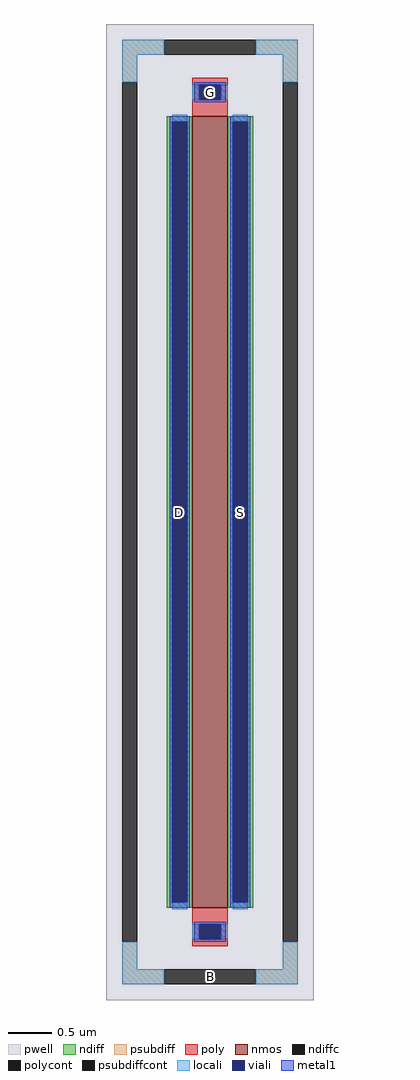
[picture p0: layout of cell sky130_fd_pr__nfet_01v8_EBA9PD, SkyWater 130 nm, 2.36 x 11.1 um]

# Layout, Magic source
magic
tech sky130A
magscale 1 2
<< pwell >>
rect -236 -1110 236 1110
<< nmos >>
rect -40 -900 40 900
<< ndiff >>
rect -98 888 -40 900
rect -98 -888 -86 888
rect -52 -888 -40 888
rect -98 -900 -40 -888
rect 40 888 98 900
rect 40 -888 52 888
rect 86 -888 98 888
rect 40 -900 98 -888
<< ndiffc >>
rect -86 -888 -52 888
rect 52 -888 86 888
<< psubdiff >>
rect -200 1040 -104 1074
rect 104 1040 200 1074
rect -200 978 -166 1040
rect 166 978 200 1040
rect -200 -1040 -166 -978
rect 166 -1040 200 -978
rect -200 -1074 -104 -1040
rect 104 -1074 200 -1040
<< psubdiffcont >>
rect -104 1040 104 1074
rect -200 -978 -166 978
rect 166 -978 200 978
rect -104 -1074 104 -1040
<< poly >>
rect -40 972 40 988
rect -40 938 -24 972
rect 24 938 40 972
rect -40 900 40 938
rect -40 -938 40 -900
rect -40 -972 -24 -938
rect 24 -972 40 -938
rect -40 -988 40 -972
<< polycont >>
rect -24 938 24 972
rect -24 -972 24 -938
<< locali >>
rect -200 1040 -104 1074
rect 104 1040 200 1074
rect -200 978 -166 1040
rect 166 978 200 1040
rect -40 938 -24 972
rect 24 938 40 972
rect -86 888 -52 904
rect -86 -904 -52 -888
rect 52 888 86 904
rect 52 -904 86 -888
rect -40 -972 -24 -938
rect 24 -972 40 -938
rect -200 -1040 -166 -978
rect 166 -1040 200 -978
rect -200 -1074 -104 -1040
rect 104 -1074 200 -1040
<< viali >>
rect -24 938 24 972
rect -86 -888 -52 888
rect 52 -888 86 888
rect -24 -972 24 -938
<< metal1 >>
rect -36 972 36 978
rect -36 938 -24 972
rect 24 938 36 972
rect -36 932 36 938
rect -92 888 -46 900
rect -92 -888 -86 888
rect -52 -888 -46 888
rect -92 -900 -46 -888
rect 46 888 92 900
rect 46 -888 52 888
rect 86 -888 92 888
rect 46 -900 92 -888
rect -36 -938 36 -932
rect -36 -972 -24 -938
rect 24 -972 36 -938
rect -36 -978 36 -972
<< labels >>
rlabel psubdiffcont 0 -1057 0 -1057 0 B
port 21 nsew
rlabel ndiffc -69 0 -69 0 0 D
port 22 nsew
rlabel ndiffc 69 0 69 0 0 S
port 23 nsew
rlabel polycont 0 955 0 955 0 G
port 24 nsew
<< properties >>
string FIXED_BBOX -183 -1057 183 1057
string gencell sky130_fd_pr__nfet_01v8
string library sky130
string parameters w 9.0 l 0.4 m 1 nf 1 diffcov 100 polycov 100 guard 1 glc 1 grc 1 gtc 1 gbc 1 tbcov 100 rlcov 100 topc 1 botc 1 poverlap 0 doverlap 1 lmin 0.15 wmin 0.42 class mosfet compatible {sky130_fd_pr__nfet_01v8 sky130_fd_pr__nfet_01v8_lvt  sky130_fd_bs_flash__special_sonosfet_star  sky130_fd_pr__nfet_g5v0d10v5 sky130_fd_pr__nfet_05v0_nvt  sky130_fd_pr__nfet_03v3_nvt} full_metal 1 conn_gates 0 viasrc 100 viadrn 100 viagate 100 viagb 0 viagr 0 viagl 0 viagt 0 doports 1
<< end >>
